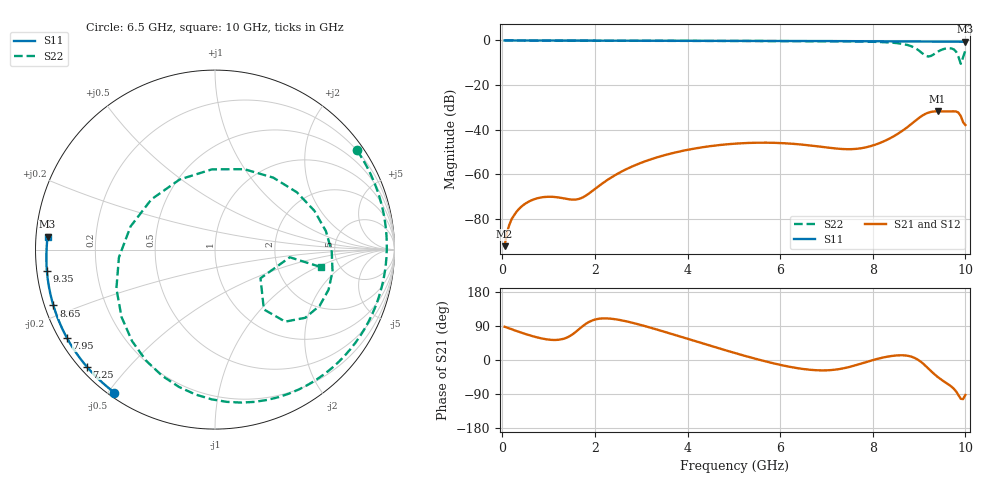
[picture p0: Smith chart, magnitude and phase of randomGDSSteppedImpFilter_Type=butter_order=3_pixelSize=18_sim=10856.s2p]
! freq	dB(S11)	phase(S11)	dB(S12)	phase(S12)
!  dB(S21)	phase(S21)	dB(S22)	phase(S22)
!S-par simulation data
#  GHz  S  DB  R 50
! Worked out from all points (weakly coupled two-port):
!   200 points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, 50 MHz to 10 GHz, reference 50 ohm
!   highest |S21| = -31.73 dB at 9.4 GHz (marker M1); lowest = -92.1 dB at 50 MHz (marker M2)
!   lowest |S11| = -0.6 dB at 10 GHz (marker M3), VSWR 29.88, Z = 1.68 + j1.92 ohm
!   |S11| at or under -10 dB: nowhere
!   |S22| runs from -10.5 to 0.0 dB; largest |S21 - S12| = 0
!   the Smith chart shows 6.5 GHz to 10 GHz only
!   S11 on the Smith chart (normalised r, x): 6.5 GHz: 0.02, -0.52; 7.25 GHz: 0.02, -0.39; 7.95 GHz: 0.02, -0.28; 8.65 GHz: 0.02, -0.17; 9.35 GHz: 0.03, -0.06; 10 GHz: 0.03, +0.04
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0.05  -0.00 -1.1  -92.11 87.8  -92.11 87.8  -0.00 -3.5
0.95  -0.03 -20.4  -70.02 54.7  -70.02 54.7  -0.08 -62.8
1.75  -0.05 -37.2  -70.14 90.7  -70.14 90.7  -0.12 -109.3
2.6  -0.07 -54.4  -58.44 104.1  -58.44 104.1  -0.15 -152.1
3.4  -0.09 -70.0  -51.98 78.2  -51.98 78.2  -0.18 171.6
5.05  -0.15 -100.3  -46.17 17.5  -46.17 17.5  -0.24 99.9
5.75  -0.19 -112.4  -45.78 -5.7  -45.78 -5.7  -0.27 68.8
6.5  -0.23 -125.1  -46.69 -23.8  -46.69 -23.8  -0.31 34.9
6.7  -0.25 -128.5  -47.14 -26.4  -47.14 -26.4  -0.32 25.7
7.25  -0.29 -137.6  -48.47 -24.5  -48.47 -24.5  -0.38 -0.1
7.95  -0.35 -149.2  -47.34 -2.0  -47.34 -2.0  -0.57 -36.4
8.35  -0.39 -155.9  -44.05 9.5  -44.05 9.5  -0.89 -62.7
8.65  -0.42 -160.9  -40.30 12.4  -40.30 12.4  -1.57 -91.3
8.85  -0.44 -164.3  -37.13 8.1  -37.13 8.1  -2.75 -121.7
9.05  -0.47 -167.7  -33.93 -5.8  -33.93 -5.8  -5.40 -175.4
9.2  -0.48 -170.3  -32.31 -22.4  -32.31 -22.4  -7.18 116.8
9.35  -0.50 -172.9  -31.75 -39.5  -31.75 -39.5  -5.75 51.0
9.4  -0.51 -173.8  -31.73 -44.6  -31.73 -44.6  -5.08 34.9
9.55  -0.53 -176.4  -31.79 -57.6  -31.79 -57.6  -3.73 -1.0
9.75  -0.55 -179.9  -31.74 -75.9  -31.74 -75.9  -4.01 -37.1
9.9  -0.57 177.4  -33.83 -102.4  -33.83 -102.4  -10.47 -32.2
10  -0.58 175.6  -37.86 -92.2  -37.86 -92.2  -4.42 -9.4
